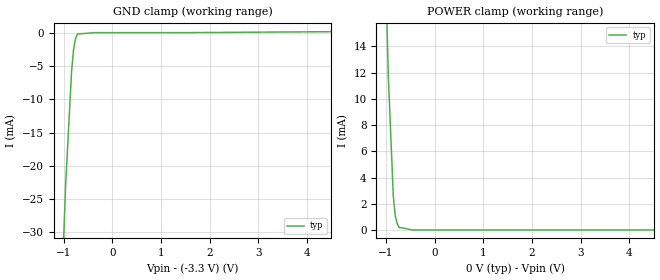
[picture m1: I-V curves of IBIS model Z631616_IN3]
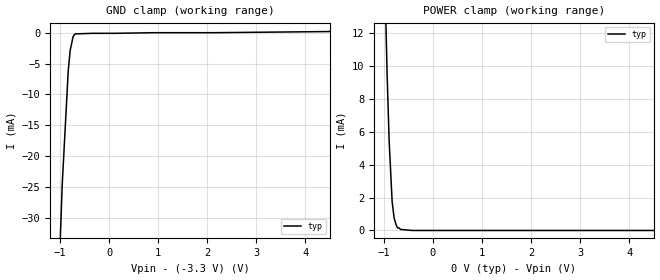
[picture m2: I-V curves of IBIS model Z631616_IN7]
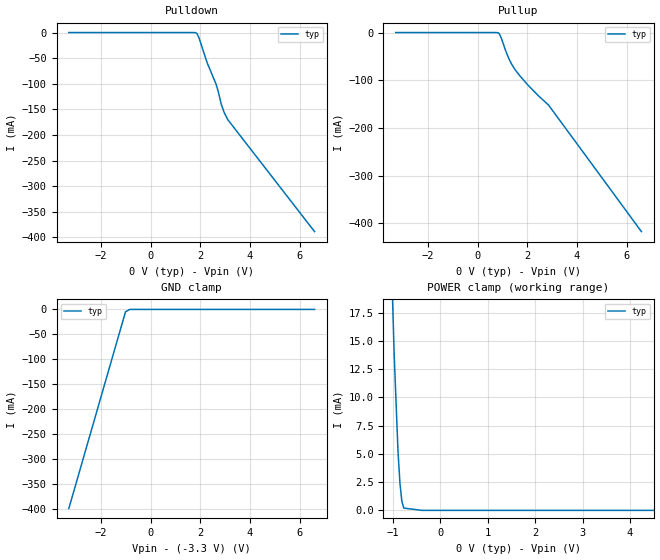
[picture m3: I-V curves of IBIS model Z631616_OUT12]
[IBIS Ver] 3.1
[File Name] mc100lvep210fa_-33.ibs
[File Rev] 3.0
[Source] Measured and created by ICX Technology
[Date] 4/7/2003
[Copyright]
| (C) COPYRIGHT 1993-2000
| MENTOR GRAPHICS CORPORATION
| ICX STANDARD LIBRARY, ICX PROJECT MODELING,
| ICX CUSTOM MODELING, ICX VENDOR MODEL
| ALL RIGHTS RESERVED.
| THE FOLLOWING ARE TRADEMARKS OR SERVICE MARKS OF
| MENTOR GRAPHICS CORPORATION:ICX (R), ICX STANDARD
| LIBRARY(R), ICX PROJECT MODELING(R), ICX CUSTOM
| MODELING(R), qualityIBIS(TM), MODELVIEWER(TM),
| AND MODELEDITOR(TM)
| ALL COPIES OF SOFTWARE, INCLUDING BUT NOT LIMITED TO
| ANY MODIFICATIONS, ENHANCEMENTS OR DERIVATIVE WORKS,
| MUST CONTAIN ALL MENTOR GRAPHICS CORPORATION'S
| NOTICES AND LEGENDS, INCLUDING THOSE EMBEDDED IN
| SOFTWARE AND THOSE AFFIXED TO SOFTWARE MEDIUM
| AND CONTAINER, AS RECEIVED FROM MENTOR GRAPHICS
| CORPORATION.
|  ZAP Model Builder 2.8
[Component] MC100LVEP210FA_-33
[Manufacturer] OnSemiconductor
[Package]
| variable   typ   min   max
R_pkg  .067ohms NA NA
L_pkg  4.211nH NA NA
C_pkg  1.002pF NA NA
[Pin] signal_name  model_name  R_pin  L_pin C_pin
1 VCC POWER .065 3.973n .928p
2 NC NC .066 4.127n .978p
3 CLKA Z631616_IN3 .068 4.288n 1.027p
4 _CLKA Z631616_IN7 .069 4.455n 1.077p
5 VBB POWER .069 4.455n 1.077p
6 CLKB Z631616_IN3 .068 4.288n 1.027p
7 _CLKB Z631616_IN7 .066 4.127n .978p
8 VEE POWER .065 3.973n .928p
9 VCC POWER .065 3.973n .928p
10 _QB4 Z631616_OUT12 .066 4.127n .978p
11 QB4 Z631616_OUT13 .068 4.288n 1.027p
12 _QB3 Z631616_OUT12 .069 4.455n 1.077p
13 QB3 Z631616_OUT13 .069 4.455n 1.077p
14 _QB2 Z631616_OUT12 .068 4.288n 1.027p
15 QB2 Z631616_OUT13 .066 4.127n .978p
16 VCC POWER .065 3.973n .928p
17 _QB1 Z631616_OUT12 .065 3.973n .928p
18 QB1 Z631616_OUT13 .066 4.127n .978p
19 _QB0 Z631616_OUT12 .068 4.288n 1.027p
20 QB0 Z631616_OUT13 .069 4.455n 1.077p
21 _QA4 Z631616_OUT28 .069 4.455n 1.077p
22 QA4 Z631616_OUT29 .068 4.288n 1.027p
23 _QA3 Z631616_OUT28 .066 4.127n .978p
24 QA3 Z631616_OUT29 .065 3.973n .928p
25 VCC POWER .065 3.973n .928p
26 _QA2 Z631616_OUT28 .066 4.127n .978p
27 QA2 Z631616_OUT29 .068 4.288n 1.027p
28 _QA1 Z631616_OUT28 .069 4.455n 1.077p
29 QA1 Z631616_OUT29 .069 4.455n 1.077p
30 _QA0 Z631616_OUT28 .068 4.288n 1.027p
31 QA0 Z631616_OUT29 .066 4.127n .978p
32 VCC POWER .065 3.973n .928p
[Diff Pin] inv_pin vdiff tdelay_typ tdelay_min tdelay_max
11 10 NA .025ns NA .035ns
13 12 NA .025ns NA .035ns
15 14 NA .025ns NA .035ns
18 17 NA .025ns NA .035ns
20 19 NA .025ns NA .035ns
22 21 NA .025ns NA .035ns
24 23 NA .025ns NA .035ns
27 26 NA .025ns NA .035ns
29 28 NA .025ns NA .035ns
3 4 800mv NA NA NA
31 30 NA .025ns NA .035ns
6 7 800mv NA NA NA
| Models and submodels in the file (6): Z631616_IN3 (Input_ECL), Z631616_IN7 (Input_ECL), Z631616_OUT12 (Output_ECL), Z631616_OUT13 (Output_ECL), Z631616_OUT28 (Output_ECL), Z631616_OUT29 (Output_ECL)
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| (C) COPYRIGHT 1993-2000
| MENTOR GRAPHICS CORPORATION
| ICX STANDARD LIBRARY, ICX PROJECT MODELING,
| ICX CUSTOM MODELING, ICX VENDOR MODEL
| ALL RIGHTS RESERVED.
| THE FOLLOWING ARE TRADEMARKS OR SERVICE MARKS OF
| MENTOR GRAPHICS CORPORATION:ICX (R), ICX STANDARD
| LIBRARY(R), ICX PROJECT MODELING(R), ICX CUSTOM
| MODELING(R), qualityIBIS(TM), MODELVIEWER(TM),
| AND MODELEDITOR(TM)
| ALL COPIES OF SOFTWARE, INCLUDING BUT NOT LIMITED TO
| ANY MODIFICATIONS, ENHANCEMENTS OR DERIVATIVE WORKS,
| MUST CONTAIN ALL MENTOR GRAPHICS CORPORATION'S
| NOTICES AND LEGENDS, INCLUDING THOSE EMBEDDED IN
| SOFTWARE AND THOSE AFFIXED TO SOFTWARE MEDIUM
| AND CONTAINER, AS RECEIVED FROM MENTOR GRAPHICS
| CORPORATION.
| Model Application Version 1.89 2/18/99.
[Model] Z631616_IN3
Model_type Input_ECL
Vinl = -1.625V
Vinh = -1.165V
C_comp 1.000pF NA NA
| variable typ   min   max
[Voltage Range] -3.300V NA NA
[GND Clamp Reference] -3.300V NA NA
[POWER Clamp Reference] 0.000V NA NA
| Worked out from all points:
|   GND clamp passes 1 mA (typ) near -0.76 V on its own axis
|   POWER clamp passes 1 mA (typ) near -0.81 V on its own axis
[GND Clamp]
-3.3V     -574.9mA   NA         NA
-1.078V   -46.7mA    NA         NA
-957mV    -22.8mA    NA         NA
-835mV    -5.8mA     NA         NA
-795mV    -2.6mA     NA         NA
-754mV    -900uA     NA         NA
-713mV    -200uA     NA         NA
-356.5mV  0A         NA         NA
1.445V    0A         NA         NA
6.6V      245.7uA    NA         NA
[POWER Clamp]
-3.3V     420.6mA    NA         NA
-1.095V   32.06mA    NA         NA
-953mV    11.67mA    NA         NA
-851mV    2.571mA    NA         NA
-811mV    1.073mA    NA         NA
-770mV    474.9uA    NA         NA
-729.5mV  178.7uA    NA         NA
-689mV    178.7uA    NA         NA
-459.3mV  0A         NA         NA
6.6V      0A         NA         NA
| (C) COPYRIGHT 1993-2000
| MENTOR GRAPHICS CORPORATION
| ICX STANDARD LIBRARY, ICX PROJECT MODELING,
| ICX CUSTOM MODELING, ICX VENDOR MODEL
| ALL RIGHTS RESERVED.
| THE FOLLOWING ARE TRADEMARKS OR SERVICE MARKS OF
| MENTOR GRAPHICS CORPORATION:ICX (R), ICX STANDARD
| LIBRARY(R), ICX PROJECT MODELING(R), ICX CUSTOM
| MODELING(R), qualityIBIS(TM), MODELVIEWER(TM),
| AND MODELEDITOR(TM)
| ALL COPIES OF SOFTWARE, INCLUDING BUT NOT LIMITED TO
| ANY MODIFICATIONS, ENHANCEMENTS OR DERIVATIVE WORKS,
| MUST CONTAIN ALL MENTOR GRAPHICS CORPORATION'S
| NOTICES AND LEGENDS, INCLUDING THOSE EMBEDDED IN
| SOFTWARE AND THOSE AFFIXED TO SOFTWARE MEDIUM
| AND CONTAINER, AS RECEIVED FROM MENTOR GRAPHICS
| CORPORATION.
| Model Application Version 1.89 2/18/99.
[Model] Z631616_IN7
Model_type Input_ECL
Vinl = -1.625V
Vinh = -1.165V
C_comp 1.000pF NA NA
| variable typ   min   max
[Voltage Range] -3.300V NA NA
[GND Clamp Reference] -3.300V NA NA
[POWER Clamp Reference] 0.000V NA NA
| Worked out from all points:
|   GND clamp passes 1 mA (typ) near -0.74 V on its own axis
|   POWER clamp passes 1 mA (typ) near -0.80 V on its own axis
[GND Clamp]
-3.3V     -671mA     NA         NA
-1.058V   -47.3mA    NA         NA
-957mV    -24.7mA    NA         NA
-835mV    -6.3mA     NA         NA
-795mV    -2.9mA     NA         NA
-734mV    -600uA     NA         NA
-693mV    -200uA     NA         NA
-346.5mV  -100uA     NA         NA
127.5mV   -100uA     NA         NA
908mV     0A         NA         NA
2.155V    0A         NA         NA
6.6V      356.6uA    NA         NA
[POWER Clamp]
-3.3V     388.4mA    NA         NA
-1.034V   22.13mA    NA         NA
-932mV    9.333mA    NA         NA
-892mV    5.437mA    NA         NA
-831mV    1.741mA    NA         NA
-790mV    744.7uA    NA         NA
-750mV    347.9uA    NA         NA
-719.5mV  152.8uA    NA         NA
-689mV    152.8uA    NA         NA
-658.5mV  57.72uA    NA         NA
-418.7mV  0A         NA         NA
6.6V      0A         NA         NA
| (C) COPYRIGHT 1993-2000
| MENTOR GRAPHICS CORPORATION
| ICX STANDARD LIBRARY, ICX PROJECT MODELING,
| ICX CUSTOM MODELING, ICX VENDOR MODEL
| ALL RIGHTS RESERVED.
| THE FOLLOWING ARE TRADEMARKS OR SERVICE MARKS OF
| MENTOR GRAPHICS CORPORATION:ICX (R), ICX STANDARD
| LIBRARY(R), ICX PROJECT MODELING(R), ICX CUSTOM
| MODELING(R), qualityIBIS(TM), MODELVIEWER(TM),
| AND MODELEDITOR(TM)
| ALL COPIES OF SOFTWARE, INCLUDING BUT NOT LIMITED TO
| ANY MODIFICATIONS, ENHANCEMENTS OR DERIVATIVE WORKS,
| MUST CONTAIN ALL MENTOR GRAPHICS CORPORATION'S
| NOTICES AND LEGENDS, INCLUDING THOSE EMBEDDED IN
| SOFTWARE AND THOSE AFFIXED TO SOFTWARE MEDIUM
| AND CONTAINER, AS RECEIVED FROM MENTOR GRAPHICS
| CORPORATION.
| Model Application Version 1.89 2/18/99.
[Model] Z631616_OUT12
Model_type Output_ECL
Vref=-2.000V
Rref=50.00ohms
Cref=0.000F
Vmeas=-1.400V
C_comp 1.000pF NA NA
| variable typ   min   max
[Voltage Range] -3.300V NA NA
[POWER Clamp Reference] 0.000V NA NA
[Pullup Reference] 0.000V NA NA
[Pulldown Reference] 0.000V NA NA
[GND Clamp Reference] -3.300V NA NA
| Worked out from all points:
|   GND clamp passes 1 mA (typ) near -0.88 V on its own axis
|   POWER clamp passes 1 mA (typ) near -0.82 V on its own axis
[GND Clamp]
-3.3V     -398.5mA   NA         NA
-1.017V   -4.925mA   NA         NA
-847.5mV  0A         NA         NA
6.6V      0A         NA         NA
[Pulldown]
-3.3V     0A         NA         NA
1.743V    0A         NA         NA
1.865V    -2.1mA     NA         NA
1.946V    -10.5mA    NA         NA
2.27V     -58.8mA    NA         NA
2.635V    -101.2mA   NA         NA
2.716V    -114.5mA   NA         NA
2.838V    -139.7mA   NA         NA
2.959V    -156.3mA   NA         NA
3.101V    -170mA     NA         NA
6.6V      -388.9mA   NA         NA
[Pullup]
-3.3V     0A         NA         NA
750mV     0A         NA         NA
872mV     -2.4mA     NA         NA
953mV     -11.4mA    NA         NA
1.135V    -39mA      NA         NA
1.257V    -54.6mA    NA         NA
1.378V    -67.1mA    NA         NA
1.52V     -78.6mA    NA         NA
2.027V    -110.3mA   NA         NA
2.858V    -152.2mA   NA         NA
6.6V      -417.8mA   NA         NA
[POWER Clamp]
-3.3V     411.1mA    NA         NA
-1.095V   31.2mA     NA         NA
-973mV    13.8mA     NA         NA
-892mV    5.2mA      NA         NA
-851mV    2.4mA      NA         NA
-811mV    800uA      NA         NA
-770mV    200uA      NA         NA
-385mV    0A         NA         NA
6.6V      0A         NA         NA
[Ramp]
| variable typ min max
dV/dt_r 516.8m/144.2p NA NA
dV/dt_f 516.8m/142.9p NA NA
R_load = 50.00Ohms
